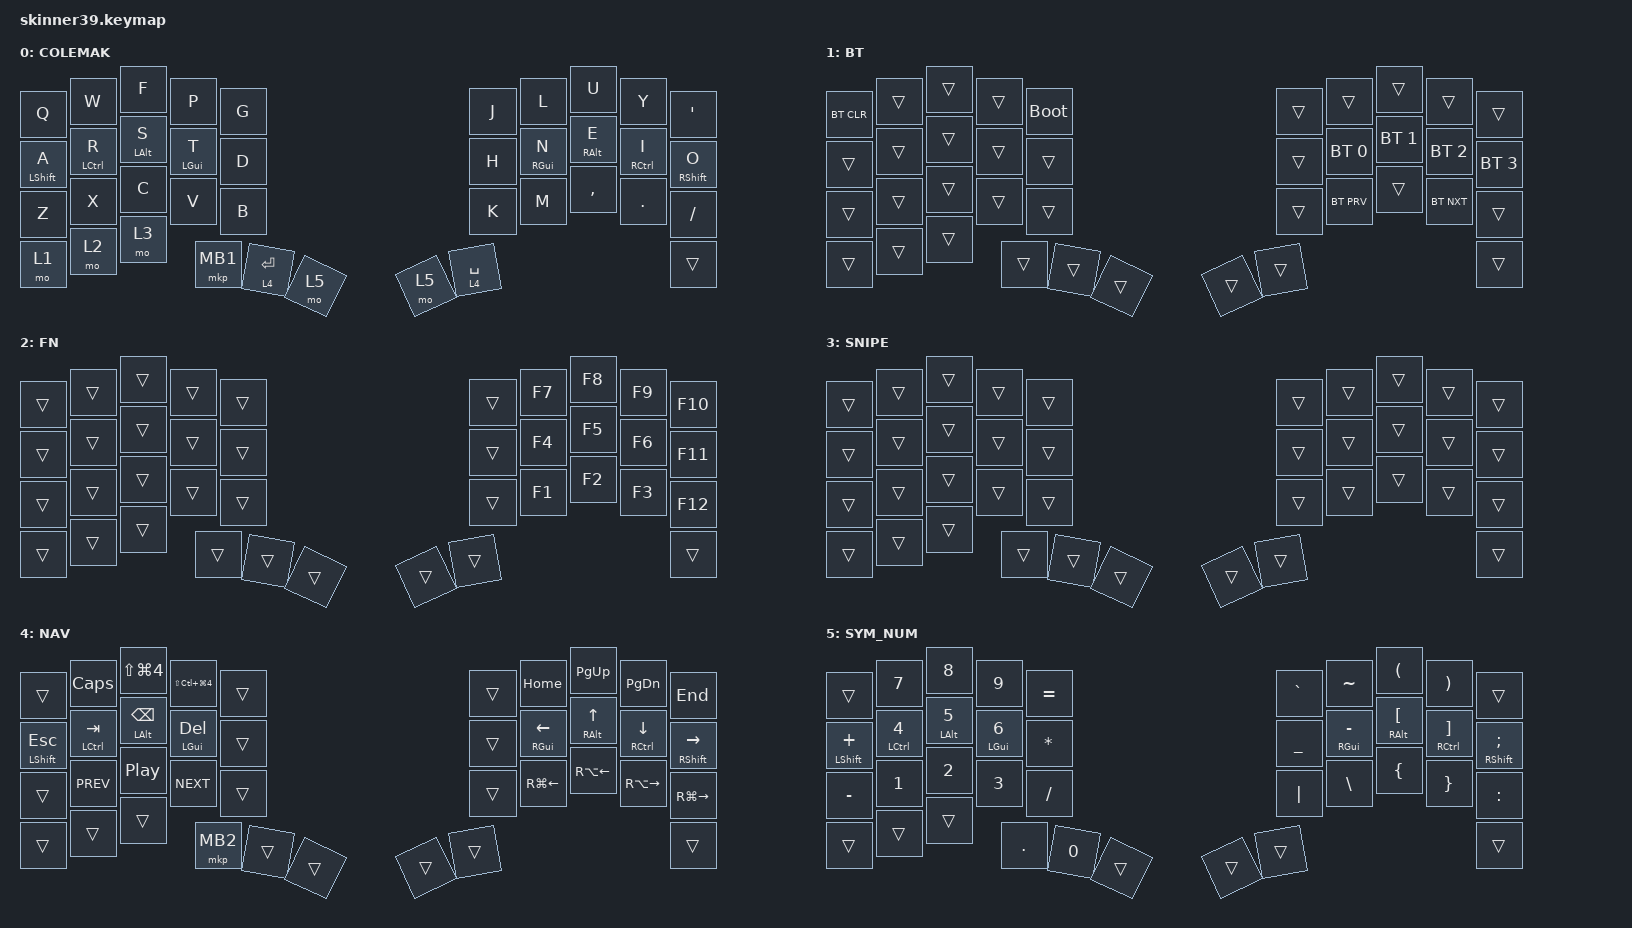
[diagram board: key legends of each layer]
#include <behaviors.dtsi>
#include <dt-bindings/zmk/bt.h>
#include <dt-bindings/zmk/keys.h>
#include <dt-bindings/zmk/pointing.h>

&lt {
    tapping-term-ms = <280>;
    flavor = "balanced";
    quick-tap-ms = <175>;
    require-prior-idle-ms = <150>;
    hold-trigger-on-release;
};

&mt {
    tapping-term-ms = <280>;
    flavor = "balanced";
    quick-tap-ms = <175>;
    require-prior-idle-ms = <150>;
    hold-trigger-on-release;
};

/ {
    keymap {
        compatible = "zmk,keymap";

        default_layer {
            label = "COLEMAK";
            bindings = <
&kp Q           &kp W           &kp F               &kp P               &kp G                                       &kp J           &kp L           &kp U         &kp Y           &kp SINGLE_QUOTE
&mt LSHIFT A    &mt LCTRL R     &mt LALT S          &mt LGUI T          &kp D                                       &kp H           &mt RGUI N      &mt RALT E    &mt RCTRL I     &mt RSHIFT O
&kp Z           &kp X           &kp C               &kp V               &kp B                                       &kp K           &kp M           &kp COMMA     &kp DOT         &kp SLASH
&mo 1           &mo 2           &mo 3               &mkp MB1            &lt 4 ENTER   &mo 5         &mo 5           &lt 4 SPACE                                                   &trans
            >;
        };

        bluetooth_layer {
            label = "BT";
            bindings = <
&bt BT_CLR      &trans          &trans              &trans              &bootloader                                 &trans          &trans          &trans          &trans          &trans
&trans          &trans          &trans              &trans              &trans                                      &trans          &bt BT_SEL 0    &bt BT_SEL 1    &bt BT_SEL 2    &bt BT_SEL 3
&trans          &trans          &trans              &trans              &trans                                      &trans          &bt BT_PRV      &trans          &bt BT_NXT      &trans
&trans          &trans          &trans              &trans              &trans        &trans          &trans        &trans                                                          &trans
            >;
        };

        fn_layer {
            label = "FN";
            bindings = <
&trans          &trans          &trans              &trans              &trans                                      &trans          &kp F7          &kp F8          &kp F9          &kp F10
&trans          &trans          &trans              &trans              &trans                                      &trans          &kp F4          &kp F5          &kp F6          &kp F11
&trans          &trans          &trans              &trans              &trans                                      &trans          &kp F1          &kp F2          &kp F3          &kp F12
&trans          &trans          &trans              &trans              &trans        &trans          &trans        &trans                                                          &trans
            >;
        };

        snipe_layer {
            label = "SNIPE";
            bindings = <
&trans          &trans          &trans              &trans              &trans                                      &trans          &trans          &trans          &trans          &trans
&trans          &trans          &trans              &trans              &trans                                      &trans          &trans          &trans          &trans          &trans
&trans          &trans          &trans              &trans              &trans                                      &trans          &trans          &trans          &trans          &trans
&trans          &trans          &trans              &trans              &trans        &trans          &trans        &trans                                                          &trans
            >;
        };

        nav_layer {
            label = "NAV";
            bindings = <
&trans          &kp CAPSLOCK    &kp LS(LG(N4))      &kp LS(LC(LG(N4)))  &trans                                      &trans          &kp HOME        &kp PG_UP       &kp PG_DN       &kp END
&mt LSHIFT ESC  &mt LCTRL TAB   &mt LALT BSPC       &mt LGUI DEL        &trans                                      &trans          &mt RGUI LEFT   &mt RALT UP     &mt RCTRL DOWN  &mt RSHIFT RIGHT
&trans          &kp C_PREV      &kp C_PP            &kp C_NEXT          &trans                                      &trans          &kp RG(LEFT)    &kp RA(LEFT)    &kp RA(RIGHT)   &kp RG(RIGHT)
&trans          &trans          &trans              &mkp MB2            &trans        &trans          &trans        &trans                                                          &trans
            >;
        };

        symbol_number_layer {
            label = "SYM_NUM";
            bindings = <
&trans          &kp N7          &kp N8              &kp N9              &kp EQUAL                                   &kp GRAVE       &kp TILDE       &kp LPAR        &kp RPAR        &trans
&mt LSHIFT PLUS &mt LCTRL N4    &mt LALT N5         &mt LGUI N6         &kp ASTRK                                   &kp UNDERSCORE  &mt RGUI MINUS  &mt RALT LBKT   &mt RCTRL RBKT  &mt RSHIFT SEMI
&kp MINUS       &kp N1          &kp N2              &kp N3              &kp FSLH                                    &kp PIPE        &kp BACKSLASH   &kp LBRC        &kp RBRC        &kp COLON
&trans          &trans          &trans              &kp DOT             &kp N0        &trans          &trans        &trans                                                          &trans
            >;
        };
    };
};
